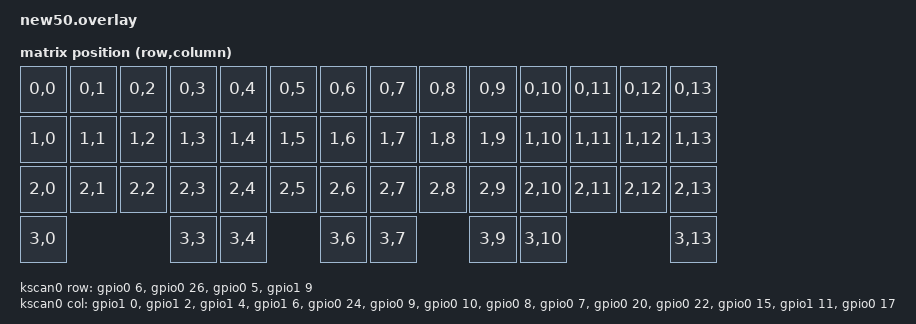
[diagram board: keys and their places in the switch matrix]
#include <dt-bindings/zmk/matrix_transform.h>
#include <dt-bindings/led/led.h>
#include "new50-layouts.dtsi"
#include "new50.dtsi"


&physical_layout0 {
    transform = <&default_transform>;
};

/ {
    chosen {
        zmk,kscan = &kscan0;
        zmk,physical-layout = &physical_layout0;
        zmk,studio-rpc-uart = &uart0;
        zmk,underglow = &led_strip;
        zephyr,display = &oled;
    };

    kscan0: kscan {
        compatible = "zmk,kscan-gpio-matrix";
        wakeup-source;

        diode-direction = "col2row";
        row-gpios
            = <&gpio0 6 (GPIO_ACTIVE_HIGH | GPIO_PULL_DOWN)>
            , <&gpio0 26 (GPIO_ACTIVE_HIGH | GPIO_PULL_DOWN)>
            , <&gpio0 5 (GPIO_ACTIVE_HIGH | GPIO_PULL_DOWN)>
            , <&gpio1 9 (GPIO_ACTIVE_HIGH | GPIO_PULL_DOWN)>
            ;
        col-gpios
            = <&gpio1 0 GPIO_ACTIVE_HIGH>
            , <&gpio1 2 GPIO_ACTIVE_HIGH>
            , <&gpio1 4 GPIO_ACTIVE_HIGH>
            , <&gpio1 6 GPIO_ACTIVE_HIGH>
            , <&gpio0 24 GPIO_ACTIVE_HIGH>
            , <&gpio0 9 GPIO_ACTIVE_HIGH>
            , <&gpio0 10 GPIO_ACTIVE_HIGH>
            , <&gpio0 8 GPIO_ACTIVE_HIGH>
            , <&gpio0 7 GPIO_ACTIVE_HIGH>
            , <&gpio0 20 GPIO_ACTIVE_HIGH>
            , <&gpio0 22 GPIO_ACTIVE_HIGH>
            , <&gpio0 15 GPIO_ACTIVE_HIGH>
            , <&gpio1 11 GPIO_ACTIVE_HIGH>
            , <&gpio0 17 GPIO_ACTIVE_HIGH>

            ;
    };

    default_transform: matrix_transform {
        compatible = "zmk,matrix-transform";
        rows = <4>;
        columns = <14>;

        map = <
            RC(0,0) RC(0,1) RC(0,2) RC(0,3) RC(0,4) RC(0,5) RC(0,6) RC(0,7) RC(0,8) RC(0,9) RC(0,10) RC(0,11) RC(0,12) RC(0,13)
            RC(1,0) RC(1,1) RC(1,2) RC(1,3) RC(1,4) RC(1,5) RC(1,6) RC(1,7) RC(1,8) RC(1,9) RC(1,10) RC(1,11) RC(1,12) RC(1,13) 
            RC(2,0) RC(2,1) RC(2,2) RC(2,3) RC(2,4) RC(2,5) RC(2,6) RC(2,7) RC(2,8) RC(2,9) RC(2,10) RC(2,11) RC(2,12) RC(2,13) 
            RC(3,0)                 RC(3,3) RC(3,4)         RC(3,6) RC(3,7)         RC(3,9) RC(3,10)                   RC(3,13) 
        >;
    };
};
